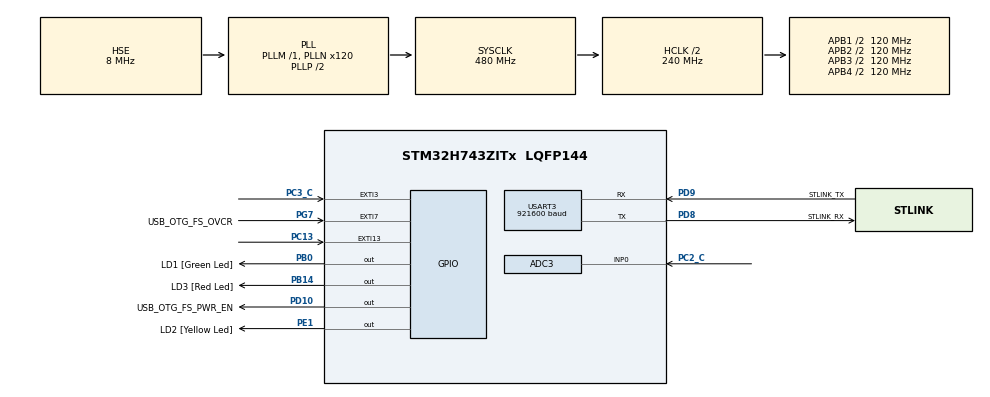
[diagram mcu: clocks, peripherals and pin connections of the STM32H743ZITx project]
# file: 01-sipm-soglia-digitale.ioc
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ADC3.Channel-0\#ChannelRegularConversion=ADC_CHANNEL_TEMPSENSOR
ADC3.ExternalTrigConv=ADC_EXTERNALTRIG_T2_TRGO
ADC3.NbrOfConversionFlag=1
ADC3.OffsetNumber-0\#ChannelRegularConversion=ADC_OFFSET_NONE
ADC3.OffsetSignedSaturation-0\#ChannelRegularConversion=DISABLE
ADC3.Rank-0\#ChannelRegularConversion=1
ADC3.SamplingTime-0\#ChannelRegularConversion=ADC_SAMPLETIME_1CYCLE_5
Dma.ADC3.0.Direction=DMA_PERIPH_TO_MEMORY
Dma.ADC3.0.EventEnable=DISABLE
Dma.ADC3.0.FIFOMode=DMA_FIFOMODE_DISABLE
Dma.ADC3.0.Instance=DMA2_Stream0
Dma.ADC3.0.MemDataAlignment=DMA_MDATAALIGN_HALFWORD
Dma.ADC3.0.MemInc=DMA_MINC_ENABLE
Dma.ADC3.0.Mode=DMA_NORMAL
Dma.ADC3.0.PeriphDataAlignment=DMA_PDATAALIGN_HALFWORD
Dma.ADC3.0.PeriphInc=DMA_PINC_DISABLE
Dma.ADC3.0.Polarity=HAL_DMAMUX_REQ_GEN_RISING
Dma.ADC3.0.Priority=DMA_PRIORITY_LOW
Dma.ADC3.0.RequestNumber=1
Dma.ADC3.0.SignalID=NONE
Dma.ADC3.0.SyncEnable=DISABLE
Dma.ADC3.0.SyncPolarity=HAL_DMAMUX_SYNC_NO_EVENT
Dma.ADC3.0.SyncRequestNumber=1
Dma.ADC3.0.SyncSignalID=NONE
Dma.Request0=ADC3
Dma.Request1=USART3_TX
Dma.USART3_TX.1.Direction=DMA_MEMORY_TO_PERIPH
Dma.USART3_TX.1.EventEnable=DISABLE
Dma.USART3_TX.1.FIFOMode=DMA_FIFOMODE_DISABLE
Dma.USART3_TX.1.Instance=DMA1_Stream3
Dma.USART3_TX.1.MemDataAlignment=DMA_MDATAALIGN_BYTE
Dma.USART3_TX.1.MemInc=DMA_MINC_ENABLE
Dma.USART3_TX.1.Mode=DMA_NORMAL
Dma.USART3_TX.1.PeriphDataAlignment=DMA_PDATAALIGN_BYTE
Dma.USART3_TX.1.PeriphInc=DMA_PINC_DISABLE
Dma.USART3_TX.1.Polarity=HAL_DMAMUX_REQ_GEN_RISING
Dma.USART3_TX.1.Priority=DMA_PRIORITY_LOW
Dma.USART3_TX.1.RequestNumber=1
Dma.USART3_TX.1.SignalID=NONE
Dma.USART3_TX.1.SyncEnable=DISABLE
Dma.USART3_TX.1.SyncPolarity=HAL_DMAMUX_SYNC_NO_EVENT
Dma.USART3_TX.1.SyncRequestNumber=1
Dma.USART3_TX.1.SyncSignalID=NONE
Mcu.Family=STM32H7
Mcu.Name=STM32H743ZITx
Mcu.Package=LQFP144
NVIC.ADC3_IRQn=true\:0\:0\:false\:false\:true\:true\:true\:true
NVIC.DMA1_Stream3_IRQn=true\:0\:0\:false\:false\:true\:false\:true\:true
NVIC.DMA2_Stream0_IRQn=true\:0\:0\:false\:false\:true\:false\:true\:true
NVIC.EXTI15_10_IRQn=true\:0\:0\:false\:false\:true\:true\:true\:true
NVIC.EXTI3_IRQn=true\:0\:0\:false\:false\:true\:true\:true\:true
NVIC.PriorityGroup=NVIC_PRIORITYGROUP_4
NVIC.TIM3_IRQn=true\:0\:0\:false\:false\:true\:true\:true\:true
NVIC.USART3_IRQn=true\:0\:0\:false\:false\:true\:true\:true\:true
PB0.GPIO_Label=LD1 [Green Led]
PB0.Signal=GPIO_Output
PB14.GPIO_Label=LD3 [Red Led]
PB14.Signal=GPIO_Output
PC13.Signal=GPXTI13
PC2_C.Mode=IN0-Single-Ended
PC2_C.Signal=ADC3_INP0
PC3_C.Signal=GPXTI3
PD10.GPIO_Label=USB_OTG_FS_PWR_EN
PD10.Signal=GPIO_Output
PD8.GPIO_Label=STLINK_RX
PD8.Mode=Asynchronous
PD8.Signal=USART3_TX
PD9.GPIO_Label=STLINK_TX
PD9.Mode=Asynchronous
PD9.Signal=USART3_RX
PE1.GPIO_Label=LD2 [Yellow Led]
PE1.Signal=GPIO_Output
PG7.GPIO_Label=USB_OTG_FS_OVCR
PG7.Signal=GPXTI7
PH0-OSC_IN\ (PH0).Mode=HSE-External-Clock-Source
PH0-OSC_IN\ (PH0).Signal=RCC_OSC_IN
ProjectManager.HeapSize=0x200
ProjectManager.StackSize=0x400
ProjectManager.TargetToolchain=STM32CubeIDE
RCC.ADCFreq_Value=75000000
RCC.APB1Freq_Value=120000000
RCC.APB2Freq_Value=120000000
RCC.APB3Freq_Value=120000000
RCC.APB4Freq_Value=120000000
RCC.CortexFreq_Value=480000000
RCC.D1PPRE=RCC_APB3_DIV2
RCC.D2PPRE1=RCC_APB1_DIV2
RCC.D2PPRE2=RCC_APB2_DIV2
RCC.D3PPRE=RCC_APB4_DIV2
RCC.DIVM1=1
RCC.DIVM2=1
RCC.DIVN1=120
RCC.DIVN2=18
RCC.HCLKFreq_Value=240000000
RCC.HPRE=RCC_HCLK_DIV2
RCC.HSE_VALUE=8000000
RCC.PLL2FRACN=6144
RCC.PLL3FRACN=0
RCC.PLLFRACN=0
RCC.PLLSourceVirtual=RCC_PLLSOURCE_HSE
RCC.PWR_Regulator_Voltage_Scale=PWR_REGULATOR_VOLTAGE_SCALE0
RCC.SYSCLKFreq_VALUE=480000000
RCC.SYSCLKSource=RCC_SYSCLKSOURCE_PLLCLK
RCC.USBFreq_Value=480000000
TIM2.TIM_MasterOutputTrigger=TIM_TRGO_UPDATE
TIM3.TIM_MasterOutputTrigger=TIM_TRGO_OC1REF
USART3.BaudRate=921600
USART3.VirtualMode-Asynchronous=VM_ASYNC
VP_ADC3_TempSens_Input.Mode=IN-TempSens
VP_ADC3_Vref_Input.Mode=IN-Vrefint
VP_MEMORYMAP_VS_MEMORYMAP.Mode=CurAppReg
VP_TIM2_VS_ClockSourceINT.Mode=Internal
VP_TIM3_VS_ClockSourceITR.Mode=TriggerSource_ITR1
VP_TIM3_VS_ControllerModeClock.Mode=Clock Mode
VP_TIM4_VS_ClockSourceITR.Mode=TriggerSource_ITR1
VP_TIM4_VS_ControllerModeClock.Mode=Clock Mode
board=NUCLEO-H743ZI2

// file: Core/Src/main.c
/* USER CODE BEGIN Header */
/**
 ******************************************************************************
 * @file           : main.c
 * @brief          : Main program body
 ******************************************************************************
 * @attention
 *
 * Copyright (c) 2024 STMicroelectronics.
 * All rights reserved.
 *
 * This software is licensed under terms that can be found in the LICENSE file
 * in the root directory of this software component.
 * If no LICENSE file comes with this software, it is provided AS-IS.
 *
 ******************************************************************************
 */
/* USER CODE END Header */
#include "main.h"

/* USER CODE BEGIN Includes */
#include "lz_uart.h"
#include "lz_serial.h"
#include "lz_adc.h"
/* USER CODE END Includes */

/* USER CODE BEGIN PD */
#define LZ_VREFINT 19
#define LZ_VSIGNAL 0

//#define LZ_CHECK_DMA_SYNC
/* USER CODE END PD */

/* USER CODE BEGIN PM */
#define MIN(a, b) (((a) < (b)) ? (a) : (b))
#define MAX(a, b) (((a) > (b)) ? (a) : (b))
/* USER CODE END PM */

ADC_HandleTypeDef hadc3;
DMA_HandleTypeDef hdma_adc3;

TIM_HandleTypeDef htim2;
TIM_HandleTypeDef htim3;
TIM_HandleTypeDef htim4;

UART_HandleTypeDef huart3;
DMA_HandleTypeDef hdma_usart3_tx;

/* USER CODE BEGIN PV */
volatile uint16_t gBuffer[1024];
static_assert((sizeof(gBuffer) & (sizeof(gBuffer) - 1)) == 0, "Queue size must be a power of 2");

volatile uint32_t still_to_transmit = 0;

volatile uint8_t is_trigger_enabled = 0;
volatile uint8_t is_trigger_ready = 0;
volatile uint8_t is_busy = 0;
volatile uint8_t is_triggered = 0;
volatile uint8_t is_tx_transmitting_dma = 0;

volatile uint8_t events_count = 0;
volatile uint32_t missed_triggers = 0;
/* USER CODE END PV */

void SystemClock_Config(void);
static void MX_GPIO_Init(void);
static void MX_DMA_Init(void);
static void MX_ADC3_Init(void);
static void MX_USART3_UART_Init(void);
static void MX_TIM2_Init(void);
static void MX_TIM3_Init(void);
static void MX_TIM4_Init(void);

/* USER CODE BEGIN 0 */
struct lz_settings {
	uint32_t arr;
	uint16_t total_points;
	int16_t trigger_offset;
	uint16_t num_of_events;
	uint16_t threshold_l;
	uint16_t threshold_h;
	uint16_t num_of_acquisitions;
} gSettings;

enum {
	LZ_IDLE, LZ_SEND_SETTINGS, LZ_UPDATE_SETTINGS, LZ_RUN
} gState = LZ_IDLE;

volatile uint8_t gRxReadingData = 0;
uint8_t __lz_serial_new_character_read(char c) {
	if (!gRxReadingData) {
		switch (c) {
		case 'u':
			gState = LZ_UPDATE_SETTINGS;
			return 1;
		case 's':
			gState = LZ_SEND_SETTINGS;
			return 1;
		case 'r':
			gState = LZ_RUN;
			return 1;
		default:
			break;
		}
	}

	return 0;
}

void __lz_serial_error_tx_buffer_full(void) {
	GPIOE->BSRR = GPIO_BSRR_BS1;
}

void __lz_serial_error_rx_buffer_full(void) {
	Error_Handler();
}

void applySettings(const struct lz_settings *settings) {
	assert(!(ADC3->CR & ADC_CR_ADSTART)); // check ADC is not measuring

	// configure sampling frequency
	TIM2->ARR = settings->arr;
	TIM2->CNT = 0;

	// configure pretrigger / trigger delay
	TIM3->ARR = settings->total_points + settings->trigger_offset;

	// configure DMA lost conversion check
	TIM4->ARR = sizeof(gBuffer) / sizeof(uint16_t) - 1;

	// configure trigger
	ADC3->LTR2 = settings->threshold_l;
	ADC3->HTR2 = settings->threshold_h;
}

void startAdc(void) {
	ADC3->CR |= ADC_CR_ADSTART;
	TIM2->CR1 |= TIM_CR1_CEN;
}

void startCircularBuffer(void) {
	// Setup ADC circular buffer
	DMA2_Stream0->PAR = (uint32_t) &ADC3->DR;
	DMA2_Stream0->M0AR = (uint32_t) &gBuffer;
	DMA2_Stream0->NDTR = sizeof(gBuffer) / sizeof(uint16_t);
	DMA2_Stream0->CR |= DMA_SxCR_CIRC;

	// Clear flags
	DMA2->LIFCR = DMA_LIFCR_CDMEIF0 | DMA_LIFCR_CFEIF0 | DMA_LIFCR_CHTIF0
			| DMA_LIFCR_CTCIF0 | DMA_LIFCR_CTEIF0;

	// Enable check and circular buffer
	TIM2->CR1 &= ~TIM_CR1_CEN;

#ifdef LZ_CHECK_DMA_SYNC
	TIM4->CR1 |= TIM_CR1_CEN;
	DMA2_Stream0->CR |= DMA_SxCR_EN;
	TIM4->CNT = sizeof(gBuffer) / sizeof(uint16_t) - DMA2_Stream0->NDTR;
#else
	DMA2_Stream0->CR |= DMA_SxCR_EN;
#endif

	TIM2->CR1 |= TIM_CR1_CEN;
}

void stopAll(void) {
	TIM2->CR1 &= ~TIM_CR1_CEN; // sample clock
	TIM3->CR1 &= ~TIM_CR1_CEN; // pretrigger clock
	TIM4->CR1 &= ~TIM_CR1_CEN; // DMA circular buffer check

	ADC3->CR |= ADC_CR_ADSTP;

	DMA2_Stream0->CR &= ~DMA_SxCR_EN;

	// Wait for ADC to stop, ADC DMA to stop and USART DMA transmission to stop (wait for end of tx)
	while ((ADC3->CR & ADC_CR_ADSTART) || (DMA2_Stream0->CR & DMA_SxCR_EN)
			|| is_tx_transmitting_dma) {
	}
}

/* USER CODE END 0 */

int main(void)
{

  /* MCU Configuration--------------------------------------------------------*/

  /* Reset of all peripherals, Initializes the Flash interface and the Systick. */
  HAL_Init();

  /* Configure the system clock */
  SystemClock_Config();

  /* Initialize all configured peripherals */
  MX_GPIO_Init();
  MX_DMA_Init();
  MX_ADC3_Init();
  MX_USART3_UART_Init();
  MX_TIM2_Init();
  MX_TIM3_Init();
  MX_TIM4_Init();
  /* USER CODE BEGIN 2 */
	lz_adc_prepare_channel(LZ_VSIGNAL, LZ_ST_1_5_CLOCK);

	lz_adc_calibration();
	lz_adc_enable();
	LZ_ADC_SEQUENCE(LZ_VSIGNAL);

	// Monitor VSIGNAL with AWD2
	ADC3->AWD2CR = 1 << LZ_VSIGNAL;

	// Configure circular mode DMA
	ADC3->CFGR |= 3 << ADC_CFGR_DMNGT_Pos;

	// Overrun mode (debug purpose only)
	//ADC3->CFGR |= ADC_CFGR_OVRMOD;

	// Enable TIM3 interrupt (end of post-trigger)
	TIM3->CR1 |= TIM_CR1_OPM;

	// Enable USART
	lz_uart_setup();

	USART3->CR3 |= USART_CR3_DMAT;

	gSettings.arr = 120;
	gSettings.num_of_events = 10;
	gSettings.threshold_h = 21845;
	gSettings.threshold_l = 14563;
	gSettings.total_points = 256;
	gSettings.trigger_offset = 0;
	gSettings.num_of_acquisitions = 1000;

	applySettings(&gSettings);

	startCircularBuffer();
	startAdc();
  /* USER CODE END 2 */

  /* Infinite loop */
	while (1) {

    /* USER CODE BEGIN 3 */
		switch (gState) {
				case LZ_SEND_SETTINGS:
					stopAll();
					lz_uart_tx_enable_interrupt();

					lz_serial_send_binary(&gSettings.arr, sizeof(gSettings.arr));
					lz_serial_send_binary(&gSettings.total_points,
							sizeof(gSettings.total_points));
					lz_serial_send_binary(&gSettings.trigger_offset,
							sizeof(gSettings.trigger_offset));
					lz_serial_send_binary(&gSettings.num_of_events,
							sizeof(gSettings.num_of_events));
					lz_serial_send_binary(&gSettings.threshold_l,
							sizeof(gSettings.threshold_l));
					lz_serial_send_binary(&gSettings.threshold_h,
							sizeof(gSettings.threshold_h));
					lz_serial_send_binary(&gSettings.num_of_acquisitions, sizeof(gSettings.num_of_acquisitions));

					lz_uart_tx_disable_interrupt();

					startAdc();
					startCircularBuffer();

					gState = LZ_IDLE;
					break;

				case LZ_UPDATE_SETTINGS:
					stopAll();

					gRxReadingData = 1;
					lz_serial_read(&gSettings.arr, sizeof(gSettings.arr));
					lz_serial_read(&gSettings.total_points,
							sizeof(gSettings.total_points));
					lz_serial_read(&gSettings.trigger_offset,
							sizeof(gSettings.trigger_offset));
					lz_serial_read(&gSettings.num_of_events,
							sizeof(gSettings.num_of_events));
					lz_serial_read(&gSettings.threshold_l, sizeof(gSettings.threshold_l));
					lz_serial_read(&gSettings.threshold_h, sizeof(gSettings.threshold_h));
					lz_serial_read(&gSettings.num_of_acquisitions, sizeof(gSettings.num_of_acquisitions));

					gRxReadingData = 0;

					applySettings(&gSettings);
					startAdc();
					startCircularBuffer();

					gState = LZ_IDLE;
					break;

				case LZ_RUN:
					for (uint32_t i = 0; i < gSettings.num_of_acquisitions; i++) {
						TIM3->SR &= ~TIM_SR_UIF;

						do
						{
							ADC3->ISR = ADC_ISR_AWD2;
							while ((~(ADC3->ISR)) & ADC_ISR_AWD2);
						} while (!(ADC3->DR < ADC3->LTR2));  // wait low thr

						do
						{
							ADC3->ISR = ADC_ISR_AWD2;
							while ((~(ADC3->ISR)) & ADC_ISR_AWD2);
						} while (!(ADC3->DR > ADC3->HTR2));  // wait high thr

						TIM3->CNT = 1;
						TIM3->CR1 |= TIM_CR1_CEN;

						while (!(TIM3->SR & TIM_SR_UIF));

						// stop DMA ADC and TIM4
						TIM2->CR1 &= ~TIM_CR1_CEN;

#ifdef LZ_CHECK_DMA_SYNC
						TIM4->CR1 &= ~TIM_CR1_CEN;
#endif
						DMA2_Stream0->CR &= ~DMA_SxCR_EN;
						while (DMA2_Stream0->CR & DMA_SxCR_EN);

						// check if DMA and TIM4 are in sync
						uint32_t succ_idx = sizeof(gBuffer) / sizeof(uint16_t) - DMA2_Stream0->NDTR;
#ifdef LZ_CHECK_DMA_SYNC
						uint32_t timer_idx = TIM4->CNT;
						if (timer_idx != succ_idx)
						{
							;
						}
#endif

						uint16_t init_idx = (succ_idx - gSettings.total_points)
								& (sizeof(gBuffer) / sizeof(uint16_t) - 1);
						uint16_t till_end = sizeof(gBuffer) / sizeof(uint16_t) - init_idx;

						uint16_t num_to_read = MIN(gSettings.total_points, till_end);
						still_to_transmit = MAX(0,
								(int32_t )gSettings.total_points - (int32_t )num_to_read);

						// enable USART3 DMA
						DMA1_Stream3->PAR = (uint32_t) &USART3->TDR;
						DMA1_Stream3->M0AR = (uint32_t) (gBuffer + init_idx);
						DMA1_Stream3->NDTR = num_to_read * sizeof(uint16_t);
						USART3->CR3 |= USART_CR3_DMAT;

						DMA1->LIFCR = DMA_LIFCR_CDMEIF3 | DMA_LIFCR_CFEIF3 | DMA_LIFCR_CHTIF3
								| DMA_LIFCR_CTCIF3 | DMA_LIFCR_CTEIF3;

						DMA1_Stream3->CR |= DMA_SxCR_EN;

						while (DMA1_Stream3->CR & DMA_SxCR_EN);

						if (still_to_transmit > 0) {
							// Transmit remaining measurements
							DMA1_Stream3->PAR = (uint32_t) &USART3->TDR;
							DMA1_Stream3->M0AR = (uint32_t) &gBuffer;
							DMA1_Stream3->NDTR = still_to_transmit * sizeof(uint16_t);
							USART3->CR3 |= USART_CR3_DMAT;

							DMA1->LIFCR = DMA_LIFCR_CDMEIF3 | DMA_LIFCR_CFEIF3 | DMA_LIFCR_CHTIF3
									| DMA_LIFCR_CTCIF3 | DMA_LIFCR_CTEIF3;

							DMA1_Stream3->CR |= DMA_SxCR_EN;

							while (DMA1_Stream3->CR & DMA_SxCR_EN);
						}

						// Reharm only if ADC is running
						if (ADC3->CR & ADC_CR_ADSTART) {
							GPIOB->BSRR = GPIO_BSRR_BR0;
							startCircularBuffer();

							TIM2->CR1 |= TIM_CR1_CEN;
						}
					}
					gState = LZ_IDLE;
					break;

				case LZ_IDLE:
					break;
				}
	}
  /* USER CODE END 3 */
}

void SystemClock_Config(void)
{
  RCC_OscInitTypeDef RCC_OscInitStruct = {0};
  RCC_ClkInitTypeDef RCC_ClkInitStruct = {0};

  /** Supply configuration update enable
  */
  HAL_PWREx_ConfigSupply(PWR_LDO_SUPPLY);

  /** Configure the main internal regulator output voltage
  */
  __HAL_PWR_VOLTAGESCALING_CONFIG(PWR_REGULATOR_VOLTAGE_SCALE1);

  while(!__HAL_PWR_GET_FLAG(PWR_FLAG_VOSRDY)) {}

  __HAL_RCC_SYSCFG_CLK_ENABLE();
  __HAL_PWR_VOLTAGESCALING_CONFIG(PWR_REGULATOR_VOLTAGE_SCALE0);

  while(!__HAL_PWR_GET_FLAG(PWR_FLAG_VOSRDY)) {}

  /** Initializes the RCC Oscillators according to the specified parameters
  * in the RCC_OscInitTypeDef structure.
  */
  RCC_OscInitStruct.OscillatorType = RCC_OSCILLATORTYPE_HSE;
  RCC_OscInitStruct.HSEState = RCC_HSE_BYPASS;
  RCC_OscInitStruct.PLL.PLLState = RCC_PLL_ON;
  RCC_OscInitStruct.PLL.PLLSource = RCC_PLLSOURCE_HSE;
  RCC_OscInitStruct.PLL.PLLM = 1;
  RCC_OscInitStruct.PLL.PLLN = 120;
  RCC_OscInitStruct.PLL.PLLP = 2;
  RCC_OscInitStruct.PLL.PLLQ = 2;
  RCC_OscInitStruct.PLL.PLLR = 2;
  RCC_OscInitStruct.PLL.PLLRGE = RCC_PLL1VCIRANGE_3;
  RCC_OscInitStruct.PLL.PLLVCOSEL = RCC_PLL1VCOWIDE;
  RCC_OscInitStruct.PLL.PLLFRACN = 0;
  if (HAL_RCC_OscConfig(&RCC_OscInitStruct) != HAL_OK)
  {
    Error_Handler();
  }

  /** Initializes the CPU, AHB and APB buses clocks
  */
  RCC_ClkInitStruct.ClockType = RCC_CLOCKTYPE_HCLK|RCC_CLOCKTYPE_SYSCLK
                              |RCC_CLOCKTYPE_PCLK1|RCC_CLOCKTYPE_PCLK2
                              |RCC_CLOCKTYPE_D3PCLK1|RCC_CLOCKTYPE_D1PCLK1;
  RCC_ClkInitStruct.SYSCLKSource = RCC_SYSCLKSOURCE_PLLCLK;
  RCC_ClkInitStruct.SYSCLKDivider = RCC_SYSCLK_DIV1;
  RCC_ClkInitStruct.AHBCLKDivider = RCC_HCLK_DIV2;
  RCC_ClkInitStruct.APB3CLKDivider = RCC_APB3_DIV2;
  RCC_ClkInitStruct.APB1CLKDivider = RCC_APB1_DIV2;
  RCC_ClkInitStruct.APB2CLKDivider = RCC_APB2_DIV2;
  RCC_ClkInitStruct.APB4CLKDivider = RCC_APB4_DIV2;

  if (HAL_RCC_ClockConfig(&RCC_ClkInitStruct, FLASH_LATENCY_4) != HAL_OK)
  {
    Error_Handler();
  }
}

static void MX_ADC3_Init(void)
{

  ADC_ChannelConfTypeDef sConfig = {0};

  /** Common config
  */
  hadc3.Instance = ADC3;
  hadc3.Init.ClockPrescaler = ADC_CLOCK_ASYNC_DIV1;
  hadc3.Init.ScanConvMode = ADC_SCAN_DISABLE;
  hadc3.Init.EOCSelection = ADC_EOC_SINGLE_CONV;
  hadc3.Init.LowPowerAutoWait = DISABLE;
  hadc3.Init.ContinuousConvMode = DISABLE;
  hadc3.Init.NbrOfConversion = 1;
  hadc3.Init.DiscontinuousConvMode = DISABLE;
  hadc3.Init.ExternalTrigConv = ADC_EXTERNALTRIG_T2_TRGO;
  hadc3.Init.ExternalTrigConvEdge = ADC_EXTERNALTRIGCONVEDGE_RISING;
  hadc3.Init.ConversionDataManagement = ADC_CONVERSIONDATA_DR;
  hadc3.Init.Overrun = ADC_OVR_DATA_PRESERVED;
  hadc3.Init.LeftBitShift = ADC_LEFTBITSHIFT_NONE;
  hadc3.Init.OversamplingMode = DISABLE;
  hadc3.Init.Oversampling.Ratio = 1;
  if (HAL_ADC_Init(&hadc3) != HAL_OK)
  {
    Error_Handler();
  }
  hadc3.Init.Resolution = ADC_RESOLUTION_16B;
  if (HAL_ADC_Init(&hadc3) != HAL_OK)
  {
    Error_Handler();
  }

  /** Configure Regular Channel
  */
  sConfig.Channel = ADC_CHANNEL_TEMPSENSOR;
  sConfig.Rank = ADC_REGULAR_RANK_1;
  sConfig.SamplingTime = ADC_SAMPLETIME_1CYCLE_5;
  sConfig.SingleDiff = ADC_SINGLE_ENDED;
  sConfig.OffsetNumber = ADC_OFFSET_NONE;
  sConfig.Offset = 0;
  sConfig.OffsetSignedSaturation = DISABLE;
  if (HAL_ADC_ConfigChannel(&hadc3, &sConfig) != HAL_OK)
  {
    Error_Handler();
  }

}

static void MX_TIM2_Init(void)
{

  TIM_ClockConfigTypeDef sClockSourceConfig = {0};
  TIM_MasterConfigTypeDef sMasterConfig = {0};

  htim2.Instance = TIM2;
  htim2.Init.Prescaler = 0;
  htim2.Init.CounterMode = TIM_COUNTERMODE_UP;
  htim2.Init.Period = 4294967295;
  htim2.Init.ClockDivision = TIM_CLOCKDIVISION_DIV1;
  htim2.Init.AutoReloadPreload = TIM_AUTORELOAD_PRELOAD_DISABLE;
  if (HAL_TIM_Base_Init(&htim2) != HAL_OK)
  {
    Error_Handler();
  }
  sClockSourceConfig.ClockSource = TIM_CLOCKSOURCE_INTERNAL;
  if (HAL_TIM_ConfigClockSource(&htim2, &sClockSourceConfig) != HAL_OK)
  {
    Error_Handler();
  }
  sMasterConfig.MasterOutputTrigger = TIM_TRGO_UPDATE;
  sMasterConfig.MasterSlaveMode = TIM_MASTERSLAVEMODE_DISABLE;
  if (HAL_TIMEx_MasterConfigSynchronization(&htim2, &sMasterConfig) != HAL_OK)
  {
    Error_Handler();
  }

}

static void MX_TIM3_Init(void)
{

  TIM_SlaveConfigTypeDef sSlaveConfig = {0};
  TIM_MasterConfigTypeDef sMasterConfig = {0};

  htim3.Instance = TIM3;
  htim3.Init.Prescaler = 0;
  htim3.Init.CounterMode = TIM_COUNTERMODE_UP;
  htim3.Init.Period = 65535;
  htim3.Init.ClockDivision = TIM_CLOCKDIVISION_DIV1;
  htim3.Init.AutoReloadPreload = TIM_AUTORELOAD_PRELOAD_DISABLE;
  if (HAL_TIM_Base_Init(&htim3) != HAL_OK)
  {
    Error_Handler();
  }
  sSlaveConfig.SlaveMode = TIM_SLAVEMODE_EXTERNAL1;
  sSlaveConfig.InputTrigger = TIM_TS_ITR1;
  if (HAL_TIM_SlaveConfigSynchro(&htim3, &sSlaveConfig) != HAL_OK)
  {
    Error_Handler();
  }
  sMasterConfig.MasterOutputTrigger = TIM_TRGO_OC1REF;
  sMasterConfig.MasterSlaveMode = TIM_MASTERSLAVEMODE_DISABLE;
  if (HAL_TIMEx_MasterConfigSynchronization(&htim3, &sMasterConfig) != HAL_OK)
  {
    Error_Handler();
  }

}

static void MX_TIM4_Init(void)
{

  TIM_SlaveConfigTypeDef sSlaveConfig = {0};
  TIM_MasterConfigTypeDef sMasterConfig = {0};

  htim4.Instance = TIM4;
  htim4.Init.Prescaler = 0;
  htim4.Init.CounterMode = TIM_COUNTERMODE_UP;
  htim4.Init.Period = 65535;
  htim4.Init.ClockDivision = TIM_CLOCKDIVISION_DIV1;
  htim4.Init.AutoReloadPreload = TIM_AUTORELOAD_PRELOAD_DISABLE;
  if (HAL_TIM_Base_Init(&htim4) != HAL_OK)
  {
    Error_Handler();
  }
  sSlaveConfig.SlaveMode = TIM_SLAVEMODE_EXTERNAL1;
  sSlaveConfig.InputTrigger = TIM_TS_ITR1;
  if (HAL_TIM_SlaveConfigSynchro(&htim4, &sSlaveConfig) != HAL_OK)
  {
    Error_Handler();
  }
  sMasterConfig.MasterOutputTrigger = TIM_TRGO_RESET;
  sMasterConfig.MasterSlaveMode = TIM_MASTERSLAVEMODE_DISABLE;
  if (HAL_TIMEx_MasterConfigSynchronization(&htim4, &sMasterConfig) != HAL_OK)
  {
    Error_Handler();
  }

}

static void MX_USART3_UART_Init(void)
{

  huart3.Instance = USART3;
  huart3.Init.BaudRate = 921600;
  huart3.Init.WordLength = UART_WORDLENGTH_8B;
  huart3.Init.StopBits = UART_STOPBITS_1;
  huart3.Init.Parity = UART_PARITY_NONE;
  huart3.Init.Mode = UART_MODE_TX_RX;
  huart3.Init.HwFlowCtl = UART_HWCONTROL_NONE;
  huart3.Init.OverSampling = UART_OVERSAMPLING_16;
  huart3.Init.OneBitSampling = UART_ONE_BIT_SAMPLE_DISABLE;
  huart3.Init.ClockPrescaler = UART_PRESCALER_DIV1;
  huart3.AdvancedInit.AdvFeatureInit = UART_ADVFEATURE_NO_INIT;
  if (HAL_UART_Init(&huart3) != HAL_OK)
  {
    Error_Handler();
  }
  if (HAL_UARTEx_SetTxFifoThreshold(&huart3, UART_TXFIFO_THRESHOLD_1_8) != HAL_OK)
  {
    Error_Handler();
  }
  if (HAL_UARTEx_SetRxFifoThreshold(&huart3, UART_RXFIFO_THRESHOLD_1_8) != HAL_OK)
  {
    Error_Handler();
  }
  if (HAL_UARTEx_DisableFifoMode(&huart3) != HAL_OK)
  {
    Error_Handler();
  }

}

static void MX_DMA_Init(void)
{

  /* DMA controller clock enable */
  __HAL_RCC_DMA2_CLK_ENABLE();
  __HAL_RCC_DMA1_CLK_ENABLE();

  /* DMA interrupt init */
  /* DMA1_Stream3_IRQn interrupt configuration */
  HAL_NVIC_SetPriority(DMA1_Stream3_IRQn, 0, 0);
  HAL_NVIC_EnableIRQ(DMA1_Stream3_IRQn);
  /* DMA2_Stream0_IRQn interrupt configuration */
  HAL_NVIC_SetPriority(DMA2_Stream0_IRQn, 0, 0);
  HAL_NVIC_EnableIRQ(DMA2_Stream0_IRQn);

}

static void MX_GPIO_Init(void)
{
  GPIO_InitTypeDef GPIO_InitStruct = {0};

  /* GPIO Ports Clock Enable */
  __HAL_RCC_GPIOC_CLK_ENABLE();
  __HAL_RCC_GPIOH_CLK_ENABLE();
  __HAL_RCC_GPIOB_CLK_ENABLE();
  __HAL_RCC_GPIOD_CLK_ENABLE();
  __HAL_RCC_GPIOG_CLK_ENABLE();
  __HAL_RCC_GPIOE_CLK_ENABLE();

  /*Configure GPIO pin Output Level */
  HAL_GPIO_WritePin(GPIOB, LD1_Pin|LD3_Pin, GPIO_PIN_RESET);

  /*Configure GPIO pin Output Level */
  HAL_GPIO_WritePin(USB_OTG_FS_PWR_EN_GPIO_Port, USB_OTG_FS_PWR_EN_Pin, GPIO_PIN_RESET);

  /*Configure GPIO pin Output Level */
  HAL_GPIO_WritePin(LD2_GPIO_Port, LD2_Pin, GPIO_PIN_RESET);

  /*Configure GPIO pins : PC13 PC3 */
  GPIO_InitStruct.Pin = GPIO_PIN_13|GPIO_PIN_3;
  GPIO_InitStruct.Mode = GPIO_MODE_IT_RISING;
  GPIO_InitStruct.Pull = GPIO_NOPULL;
  HAL_GPIO_Init(GPIOC, &GPIO_InitStruct);

  /*Configure GPIO pins : LD1_Pin LD3_Pin */
  GPIO_InitStruct.Pin = LD1_Pin|LD3_Pin;
  GPIO_InitStruct.Mode = GPIO_MODE_OUTPUT_PP;
  GPIO_InitStruct.Pull = GPIO_NOPULL;
  GPIO_InitStruct.Speed = GPIO_SPEED_FREQ_LOW;
  HAL_GPIO_Init(GPIOB, &GPIO_InitStruct);

  /*Configure GPIO pin : USB_OTG_FS_PWR_EN_Pin */
  GPIO_InitStruct.Pin = USB_OTG_FS_PWR_EN_Pin;
  GPIO_InitStruct.Mode = GPIO_MODE_OUTPUT_PP;
  GPIO_InitStruct.Pull = GPIO_NOPULL;
  GPIO_InitStruct.Speed = GPIO_SPEED_FREQ_LOW;
  HAL_GPIO_Init(USB_OTG_FS_PWR_EN_GPIO_Port, &GPIO_InitStruct);

  /*Configure GPIO pin : USB_OTG_FS_OVCR_Pin */
  GPIO_InitStruct.Pin = USB_OTG_FS_OVCR_Pin;
  GPIO_InitStruct.Mode = GPIO_MODE_IT_RISING;
  GPIO_InitStruct.Pull = GPIO_NOPULL;
  HAL_GPIO_Init(USB_OTG_FS_OVCR_GPIO_Port, &GPIO_InitStruct);

  /*Configure GPIO pin : LD2_Pin */
  GPIO_InitStruct.Pin = LD2_Pin;
  GPIO_InitStruct.Mode = GPIO_MODE_OUTPUT_PP;
  GPIO_InitStruct.Pull = GPIO_NOPULL;
  GPIO_InitStruct.Speed = GPIO_SPEED_FREQ_LOW;
  HAL_GPIO_Init(LD2_GPIO_Port, &GPIO_InitStruct);

  /* EXTI interrupt init*/
  HAL_NVIC_SetPriority(EXTI3_IRQn, 0, 0);
  HAL_NVIC_EnableIRQ(EXTI3_IRQn);

  HAL_NVIC_SetPriority(EXTI15_10_IRQn, 0, 0);
  HAL_NVIC_EnableIRQ(EXTI15_10_IRQn);

}

void Error_Handler(void)
{
	__disable_irq();
	while (1) {
	}
}
